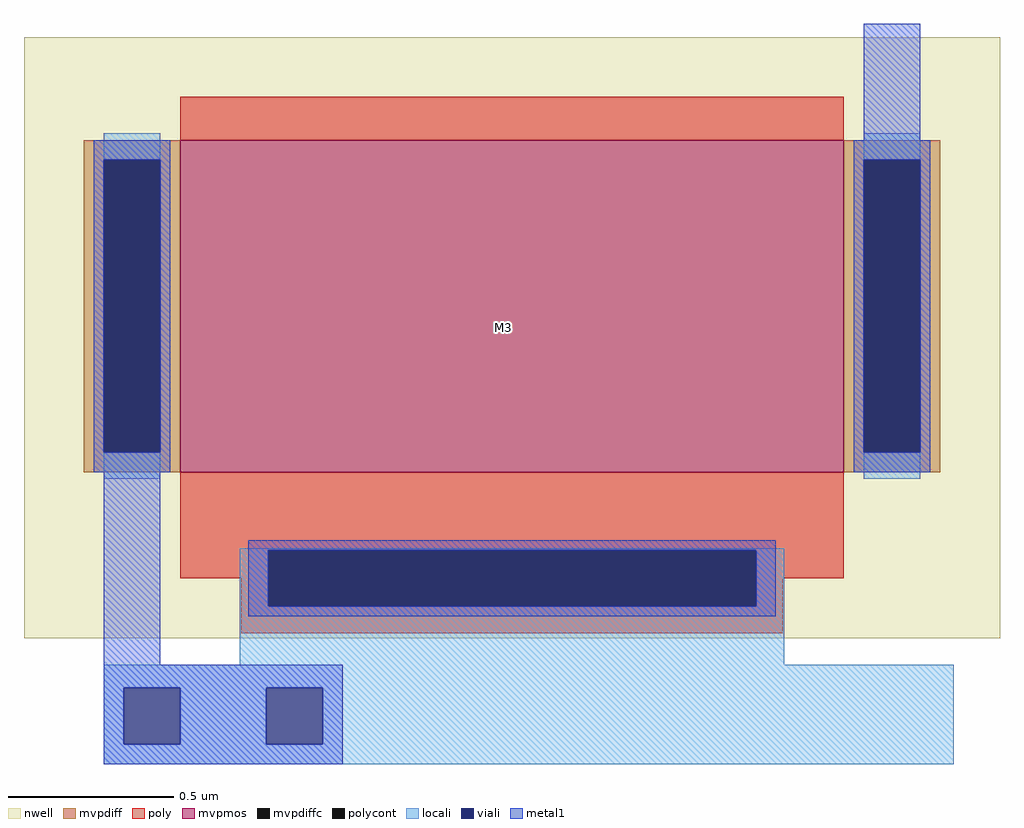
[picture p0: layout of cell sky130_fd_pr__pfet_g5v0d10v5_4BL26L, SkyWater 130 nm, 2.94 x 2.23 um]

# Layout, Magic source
magic
tech sky130A
magscale 1 2
<< nwell >>
rect -294 -164 294 198
<< mvpmos >>
rect -200 -64 200 136
<< mvpdiff >>
rect -258 124 -200 136
rect -258 -52 -246 124
rect -212 -52 -200 124
rect -258 -64 -200 -52
rect 200 124 258 136
rect 200 -52 212 124
rect 246 -52 258 124
rect 200 -64 258 -52
<< mvpdiffc >>
rect -246 -52 -212 124
rect 212 -52 246 124
<< poly >>
rect -200 136 200 162
rect -200 -111 200 -64
rect -200 -128 -147 -111
rect -163 -145 -147 -128
rect 147 -128 200 -111
rect 147 -145 163 -128
rect -163 -161 163 -145
<< polycont >>
rect -147 -145 147 -111
<< locali >>
rect -246 124 -212 140
rect -246 -68 -212 -52
rect 212 124 246 140
rect 212 -68 246 -52
rect -164 -111 164 -110
rect -164 -145 -147 -111
rect 147 -145 164 -111
rect -164 -180 164 -145
rect -246 -194 266 -180
rect -246 -228 -234 -194
rect -200 -228 -148 -194
rect -114 -228 266 -194
rect -246 -240 266 -228
<< viali >>
rect -246 -52 -212 124
rect 212 -52 246 124
rect -147 -145 147 -111
rect -234 -228 -200 -194
rect -148 -228 -114 -194
<< metal1 >>
rect 212 136 246 206
rect -252 124 -206 136
rect -252 -52 -246 124
rect -212 -52 -206 124
rect -252 -64 -206 -52
rect 206 124 252 136
rect 206 -52 212 124
rect 246 -52 252 124
rect 206 -64 252 -52
rect -246 -180 -212 -64
rect -159 -111 159 -105
rect -159 -145 -147 -111
rect 147 -145 159 -111
rect -159 -151 159 -145
rect -246 -194 -102 -180
rect -246 -228 -234 -194
rect -200 -228 -148 -194
rect -114 -228 -102 -194
rect -246 -240 -102 -228
<< labels >>
flabel mvpmos -92 -8 82 54 0 FreeSans 800 0 0 0 M3
<< properties >>
string gencell sky130_fd_pr__pfet_g5v0d10v5
string library sky130
string parameters w 1 l 2 m 1 nf 1 diffcov 100 polycov 80 guard 0 glc 1 grc 1 gtc 1 gbc 1 tbcov 100 rlcov 100 topc 0 botc 1 poverlap 0 doverlap 1 lmin 0.50 wmin 0.42 class mosfet compatible {sky130_fd_pr__pfet_01v8  sky130_fd_pr__pfet_01v8_lvt sky130_fd_pr__pfet_01v8_hvt  sky130_fd_pr__pfet_g5v0d10v5} full_metal 0 viasrc 100 viadrn 100 viagate 80 viagb 0 viagr 0 viagl 0 viagt 0
<< end >>
